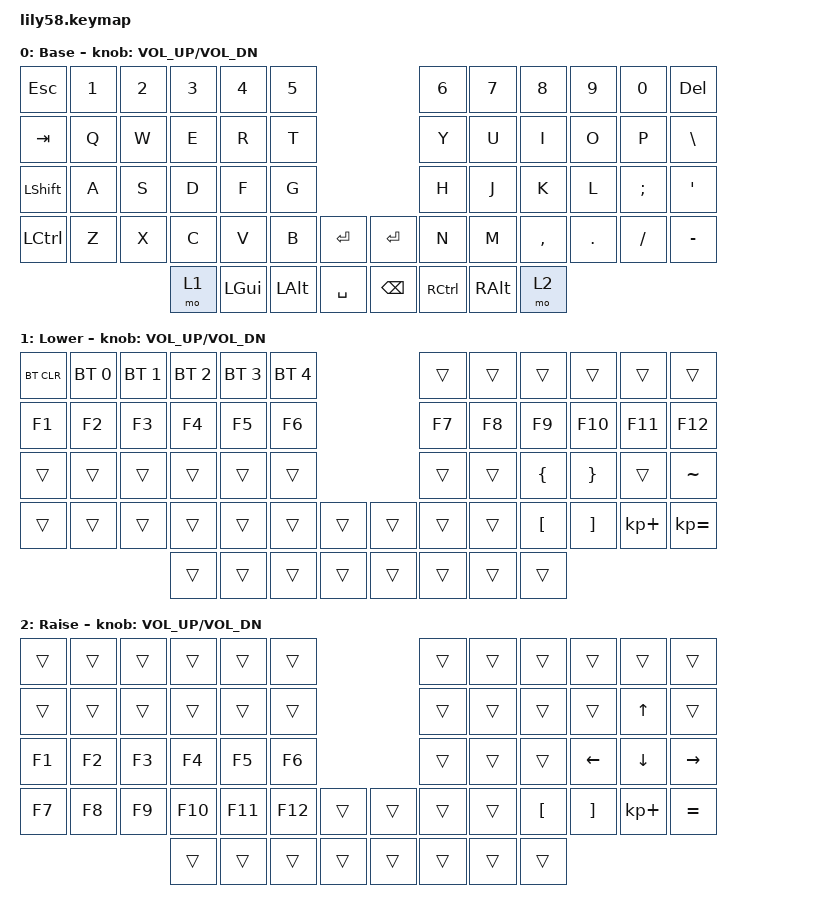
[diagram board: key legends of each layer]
/*
 * Copyright (c) 2020 The ZMK Contributors
 *
 * SPDX-License-Identifier: MIT
 */

#include <behaviors.dtsi>
#include <dt-bindings/zmk/bt.h>
#include <dt-bindings/zmk/keys.h>

/ {
    keymap {
        compatible = "zmk,keymap";

        default_layer {
            // ------------------------------------------------------------------------------------------------------------
            // |  ESC  |  1  |  2  |  3   |  4   |  5   |                   |  6   |  7    |  8    |  9   |   0   |   `   |
            // |  TAB  |  Q  |  W  |  E   |  R   |  T   |                   |  Y   |  U    |  I    |  O   |   P   |   -   |
            // |  CTRL |  A  |  S  |  D   |  F   |  G   |                   |  H   |  J    |  K    |  L   |   ;   |   '   |
            // | SHIFT |  Z  |  X  |  C   |  V   |  B   |   "["  |  |  "]"  |  N   |  M    |  ,    |  .   |   /   | SHIFT |
            //                     | ALT  | GUI  | LOWER|  SPACE |  | ENTER | RAISE| BSPC  | GUI   |

            label = "Base";
            bindings = <
&kp ESC           &kp N1  &kp N2  &kp N3  &kp N4    &kp N5                                     &kp N6             &kp N7         &kp N8     &kp N9   &kp N0    &kp DELETE
&kp TAB           &kp Q   &kp W   &kp E   &kp R     &kp T                                      &kp Y              &kp U          &kp I      &kp O    &kp P     &kp BACKSLASH
&kp LEFT_SHIFT    &kp A   &kp S   &kp D   &kp F     &kp G                                      &kp H              &kp J          &kp K      &kp L    &kp SEMI  &kp SQT
&kp LEFT_CONTROL  &kp Z   &kp X   &kp C   &kp V     &kp B         &kp RETURN    &kp RETURN     &kp N              &kp M          &kp COMMA  &kp DOT  &kp FSLH  &kp MINUS
                                  &mo 1   &kp LGUI  &kp LEFT_ALT  &kp SPACE     &kp BACKSPACE  &kp RIGHT_CONTROL  &kp RIGHT_ALT  &mo 2
            >;

            sensor-bindings = <&inc_dec_kp C_VOL_UP C_VOL_DN>;
        };

        lower_layer {
            // ------------------------------------------------------------------------------------------------------------
            // | BTCLR | BT1 | BT2 |  BT3 |  BT4 |  BT5 |                   |      |       |       |      |       |       |
            // |  F1   |  F2 |  F3 |  F4  |  F5  |  F6  |                   |  F7  |  F8   |  F9   |  F10 |  F11  |  F12  |
            // |   `   |  !  |  @  |  #   |  $   |  %   |                   |  ^   |  &    |  *    |  (   |   )   |   ~   |
            // |       |     |     |      |      |      |        |  |       |      |  _    |  +    |  {   |   }   |  "|"  |
            //                     |      |      |      |        |  |       |      |       |       |

            label = "Lower";
            bindings = <
&bt BT_CLR  &bt BT_SEL 0  &bt BT_SEL 1  &bt BT_SEL 2  &bt BT_SEL 3  &bt BT_SEL 4                    &trans  &trans  &trans            &trans             &trans       &trans
&kp F1      &kp F2        &kp F3        &kp F4        &kp F5        &kp F6                          &kp F7  &kp F8  &kp F9            &kp F10            &kp F11      &kp F12
&trans      &trans        &trans        &trans        &trans        &trans                          &trans  &trans  &kp LEFT_BRACE    &kp RIGHT_BRACE    &trans       &kp TILDE
&trans      &trans        &trans        &trans        &trans        &trans        &trans    &trans  &trans  &trans  &kp LEFT_BRACKET  &kp RIGHT_BRACKET  &kp KP_PLUS  &kp KP_EQUAL
                                        &trans        &trans        &trans        &trans    &trans  &trans  &trans  &trans
            >;

            sensor-bindings = <&inc_dec_kp C_VOL_UP C_VOL_DN>;
        };

        raise_layer {
            // ------------------------------------------------------------------------------------------------------------
            // |       |     |     |      |      |      |                   |      |       |       |      |       |       |
            // |   `   |  1  |  2  |  3   |  4   |  5   |                   |  6   |   7   |   8   |  9   |   0   |       |
            // |   F1  |  F2 |  F3 |  F4  |  F5  |  F6  |                   |      |   <-  |   v   |  ^   |  ->   |       |
            // |   F7  |  F8 |  F9 |  F10 |  F11 |  F12 |        |  |       |  +   |   -   |   =   |  [   |   ]   |   \   |
            //                     |      |      |      |        |  |       |      |       |       |

            label = "Raise";
            bindings = <
&trans  &trans  &trans  &trans   &trans   &trans                     &trans  &trans  &trans            &trans             &trans          &trans
&trans  &trans  &trans  &trans   &trans   &trans                     &trans  &trans  &trans            &trans             &kp UP_ARROW    &trans
&kp F1  &kp F2  &kp F3  &kp F4   &kp F5   &kp F6                     &trans  &trans  &trans            &kp LEFT_ARROW     &kp DOWN_ARROW  &kp RIGHT_ARROW
&kp F7  &kp F8  &kp F9  &kp F10  &kp F11  &kp F12  &trans    &trans  &trans  &trans  &kp LEFT_BRACKET  &kp RIGHT_BRACKET  &kp KP_PLUS     &kp EQUAL
                        &trans   &trans   &trans   &trans    &trans  &trans  &trans  &trans
            >;

            sensor-bindings = <&inc_dec_kp C_VOL_UP C_VOL_DN>;
        };
    };
};
